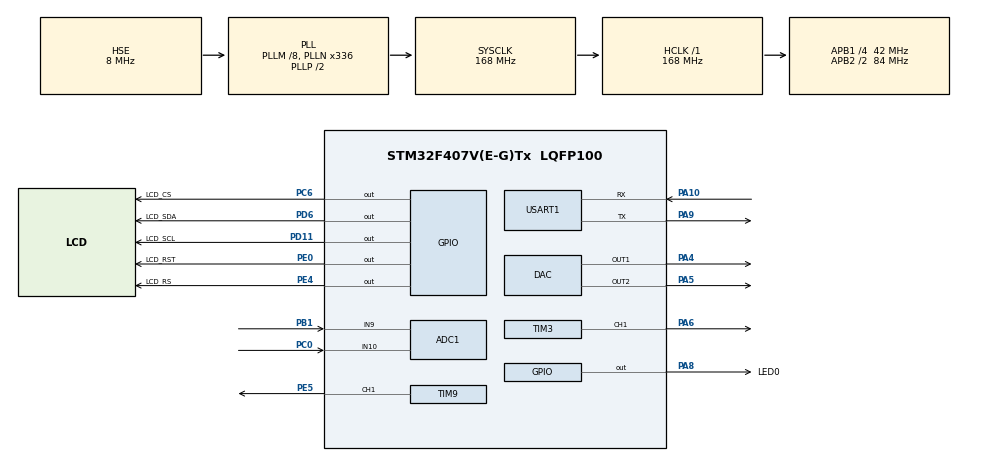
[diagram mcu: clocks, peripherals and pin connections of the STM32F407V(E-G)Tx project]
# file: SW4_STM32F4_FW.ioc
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ADC1.Channel-0\#ChannelRegularConversion=ADC_CHANNEL_9
ADC1.Channel-1\#ChannelRegularConversion=ADC_CHANNEL_10
ADC1.Channel-2\#ChannelRegularConversion=ADC_CHANNEL_TEMPSENSOR
ADC1.ContinuousConvMode=ENABLE
ADC1.DMAContinuousRequests=ENABLE
ADC1.NbrOfConversion=3
ADC1.NbrOfConversionFlag=1
ADC1.Rank-0\#ChannelRegularConversion=1
ADC1.Rank-1\#ChannelRegularConversion=2
ADC1.Rank-2\#ChannelRegularConversion=3
ADC1.SamplingTime-0\#ChannelRegularConversion=ADC_SAMPLETIME_3CYCLES
ADC1.SamplingTime-1\#ChannelRegularConversion=ADC_SAMPLETIME_3CYCLES
ADC1.SamplingTime-2\#ChannelRegularConversion=ADC_SAMPLETIME_3CYCLES
ADC1.ScanConvMode=ENABLE
ADC1.master=1
DAC.DAC_Trigger=DAC_TRIGGER_T6_TRGO
DAC.DAC_Trigger2=DAC_TRIGGER_T6_TRGO
DAC.TriangleAmplitude=DAC_TRIANGLEAMPLITUDE_255
DAC.WaveGeneration=TriangleWaveGeneration
Dma.ADC1.0.Direction=DMA_PERIPH_TO_MEMORY
Dma.ADC1.0.FIFOMode=DMA_FIFOMODE_DISABLE
Dma.ADC1.0.Instance=DMA2_Stream0
Dma.ADC1.0.MemDataAlignment=DMA_MDATAALIGN_HALFWORD
Dma.ADC1.0.MemInc=DMA_MINC_ENABLE
Dma.ADC1.0.Mode=DMA_NORMAL
Dma.ADC1.0.PeriphDataAlignment=DMA_PDATAALIGN_HALFWORD
Dma.ADC1.0.PeriphInc=DMA_PINC_DISABLE
Dma.ADC1.0.Priority=DMA_PRIORITY_LOW
Dma.DAC1.1.Direction=DMA_MEMORY_TO_PERIPH
Dma.DAC1.1.FIFOMode=DMA_FIFOMODE_DISABLE
Dma.DAC1.1.Instance=DMA1_Stream5
Dma.DAC1.1.MemDataAlignment=DMA_MDATAALIGN_HALFWORD
Dma.DAC1.1.MemInc=DMA_MINC_ENABLE
Dma.DAC1.1.Mode=DMA_NORMAL
Dma.DAC1.1.PeriphDataAlignment=DMA_PDATAALIGN_HALFWORD
Dma.DAC1.1.PeriphInc=DMA_PINC_DISABLE
Dma.DAC1.1.Priority=DMA_PRIORITY_LOW
Dma.DAC2.2.Direction=DMA_MEMORY_TO_PERIPH
Dma.DAC2.2.FIFOMode=DMA_FIFOMODE_DISABLE
Dma.DAC2.2.Instance=DMA1_Stream6
Dma.DAC2.2.MemDataAlignment=DMA_MDATAALIGN_HALFWORD
Dma.DAC2.2.MemInc=DMA_MINC_ENABLE
Dma.DAC2.2.Mode=DMA_CIRCULAR
Dma.DAC2.2.PeriphDataAlignment=DMA_PDATAALIGN_HALFWORD
Dma.DAC2.2.PeriphInc=DMA_PINC_DISABLE
Dma.DAC2.2.Priority=DMA_PRIORITY_LOW
Dma.Request0=ADC1
Dma.Request1=DAC1
Dma.Request2=DAC2
Mcu.Family=STM32F4
Mcu.Name=STM32F407V(E-G)Tx
Mcu.Package=LQFP100
NVIC.ADC_IRQn=true\:2\:0\:true\:false\:true\:true\:true
NVIC.DMA1_Stream5_IRQn=true\:0\:0\:false\:false\:true\:false\:true
NVIC.DMA1_Stream6_IRQn=true\:0\:0\:false\:false\:true\:false\:true
NVIC.DMA2_Stream0_IRQn=true\:1\:0\:true\:false\:true\:false\:true
NVIC.PriorityGroup=NVIC_PRIORITYGROUP_4
NVIC.TIM3_IRQn=true\:2\:0\:true\:false\:true\:true\:true
NVIC.USART1_IRQn=true\:1\:0\:true\:false\:true\:true\:true
PA10.Mode=Asynchronous
PA10.Signal=USART1_RX
PA13.Mode=Serial_Wire
PA13.Signal=SYS_JTMS-SWDIO
PA14.Mode=Serial_Wire
PA14.Signal=SYS_JTCK-SWCLK
PA4.Signal=COMP_DAC1_group
PA5.Signal=COMP_DAC2_group
PA6.Signal=S_TIM3_CH1
PA8.GPIO_Label=LED0
PA8.GPIO_PuPd=GPIO_PULLDOWN
PA8.PinState=GPIO_PIN_SET
PA8.Signal=GPIO_Output
PA9.Mode=Asynchronous
PA9.Signal=USART1_TX
PB1.Signal=ADCx_IN9
PC0.Signal=ADCx_IN10
PC14-OSC32_IN.Mode=LSE-External-Oscillator
PC14-OSC32_IN.Signal=RCC_OSC32_IN
PC15-OSC32_OUT.Mode=LSE-External-Oscillator
PC15-OSC32_OUT.Signal=RCC_OSC32_OUT
PC6.GPIO_Label=LCD_CS
PC6.GPIO_PuPd=GPIO_PULLUP
PC6.GPIO_Speed=GPIO_SPEED_FREQ_VERY_HIGH
PC6.PinState=GPIO_PIN_SET
PC6.Signal=GPIO_Output
PD11.GPIO_Label=LCD_SCL
PD11.GPIO_PuPd=GPIO_PULLUP
PD11.GPIO_Speed=GPIO_SPEED_FREQ_VERY_HIGH
PD11.PinState=GPIO_PIN_SET
PD11.Signal=GPIO_Output
PD6.GPIO_Label=LCD_SDA
PD6.GPIO_PuPd=GPIO_PULLUP
PD6.GPIO_Speed=GPIO_SPEED_FREQ_VERY_HIGH
PD6.PinState=GPIO_PIN_SET
PD6.Signal=GPIO_Output
PE0.GPIO_Label=LCD_RST
PE0.GPIO_PuPd=GPIO_PULLUP
PE0.GPIO_Speed=GPIO_SPEED_FREQ_VERY_HIGH
PE0.PinState=GPIO_PIN_SET
PE0.Signal=GPIO_Output
PE4.GPIO_Label=LCD_RS
PE4.GPIO_PuPd=GPIO_PULLUP
PE4.GPIO_Speed=GPIO_SPEED_FREQ_VERY_HIGH
PE4.PinState=GPIO_PIN_SET
PE4.Signal=GPIO_Output
PE5.Signal=S_TIM9_CH1
PH0-OSC_IN.Mode=HSE-External-Oscillator
PH0-OSC_IN.Signal=RCC_OSC_IN
PH1-OSC_OUT.Mode=HSE-External-Oscillator
PH1-OSC_OUT.Signal=RCC_OSC_OUT
ProjectManager.HeapSize=0x200
ProjectManager.StackSize=0x400
ProjectManager.TargetToolchain=SW4STM32
RCC.48MHZClocksFreq_Value=84000000
RCC.AHBFreq_Value=168000000
RCC.APB1CLKDivider=RCC_HCLK_DIV4
RCC.APB1Freq_Value=42000000
RCC.APB1TimFreq_Value=84000000
RCC.APB2CLKDivider=RCC_HCLK_DIV2
RCC.APB2Freq_Value=84000000
RCC.APB2TimFreq_Value=168000000
RCC.CortexFreq_Value=168000000
RCC.HCLKFreq_Value=168000000
RCC.HSE_VALUE=8000000
RCC.HSI_VALUE=16000000
RCC.PLLM=8
RCC.PLLN=336
RCC.PLLSourceVirtual=RCC_PLLSOURCE_HSE
RCC.SYSCLKFreq_VALUE=168000000
RCC.SYSCLKSource=RCC_SYSCLKSOURCE_PLLCLK
RCC.VCOOutputFreq_Value=336000000
SH.ADCx_IN10.0=ADC1_IN10,IN10
SH.ADCx_IN9.0=ADC1_IN9,IN9
SH.COMP_DAC1_group.0=DAC_OUT1,DAC_OUT1
SH.COMP_DAC2_group.0=DAC_OUT2,DAC_OUT2
SH.S_TIM3_CH1.0=TIM3_CH1,PWM Generation1 CH1
SH.S_TIM9_CH1.0=TIM9_CH1,PWM Generation1 CH1
TIM3.AutoReloadPreload=TIM_AUTORELOAD_PRELOAD_DISABLE
TIM3.Channel-PWM\ Generation1\ CH1=TIM_CHANNEL_1
TIM3.Period=999
TIM3.Prescaler=83
TIM3.Pulse-PWM\ Generation1\ CH1=0
TIM6.AutoReloadPreload=TIM_AUTORELOAD_PRELOAD_ENABLE
TIM6.Period=20
TIM6.TIM_MasterOutputTrigger=TIM_TRGO_UPDATE
TIM9.Channel-PWM\ Generation1\ CH1=TIM_CHANNEL_1
TIM9.Period=99
TIM9.Prescaler=167
TIM9.Pulse-PWM\ Generation1\ CH1=99
USART1.VirtualMode=VM_ASYNC
VP_ADC1_TempSens_Input.Mode=IN-TempSens
VP_TIM3_VS_ClockSourceINT.Mode=Internal
VP_TIM6_VS_ClockSourceINT.Mode=Enable_Timer
VP_TIM9_VS_ClockSourceINT.Mode=Internal
board=custom

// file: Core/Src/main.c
/* USER CODE BEGIN Header */

/* USER CODE END Header */
#include "main.h"
#include "adc.h"
#include "dac.h"
#include "dma.h"
#include "tim.h"
#include "usart.h"
#include "gpio.h"

/* USER CODE BEGIN Includes */
#include "first_init.h"
/* USER CODE END Includes */

/* USER CODE BEGIN PV */
volatile uint16_t pulse = 0;
__IO uint16_t LCD_BLK = 0;
/* USER CODE END PV */

void SystemClock_Config(void);

int main(void)
{

    /* MCU Configuration--------------------------------------------------------*/

    /* Reset of all peripherals, Initializes the Flash interface and the Systick. */
    HAL_Init();

    /* Configure the system clock */
    SystemClock_Config();

    /* Initialize all configured peripherals */
    MX_GPIO_Init();
    MX_DMA_Init();
    MX_ADC1_Init();
    MX_DAC_Init();
    MX_TIM6_Init();
    MX_TIM3_Init();
    MX_USART1_UART_Init();
    MX_TIM9_Init();
    /* USER CODE BEGIN 2 */
    first_init();//独立出来了
    /* USER CODE END 2 */

    /* Infinite loop */
    while (1)
    {

        /* USER CODE BEGIN 3 */
        delay_ms(2);
        HAL_ADC_Stop_DMA(&hadc1);
        //采样&&发生
        ADC_FUNCTION();
        TEMP_DATA();
        //温度显示
        LCD_ShowNum(70, 20, MCU_TEMP, 3);//芯片温度
        LCD_ShowNum(70, 36, NTC_TEMP, 3);//NTC温度
        //绘制波形&&局部清屏
        LCD_DrawWave(ADC_IN10_Value, FFT_Len, 1, 159, 55, YELLOW);

        //串口通信
        if (Uart1_Rx_Flag == 1)
        {
            Uart1_Rx_Flag = 0;
            if (uart1_rx_buf[0] >= 0 && uart1_rx_buf[0] <= 10)//是数组，第0位  十进制的数(0-255):0一个字节/10两个字节
            {
                LCD_BLK = uart1_rx_buf[0] * 10;
                __HAL_TIM_SET_COMPARE(&htim9, TIM_CHANNEL_1, LCD_BLK);
                printf("LCD_BLK_SET!\r\n");//调用scanf函数读取串口数据时，需要以空格作为输入的结束
            } else
                printf("LCD_BLK_SET_ERROR!\r\n");
            HAL_UART_Receive_IT(&huart1, (uint8_t *) uart1_rx_buf, 1);//开启串口接收中断允许 不开启就只能接收一次
        }

        //快速傅里叶变换
        FFT_Function(ADC_IN10_voltage);
        LCD_DrawFFTWave(FFT_MAG_Outputdata, 1, 159, 100, Half_FFT_Len, BLUE);

        //DMA校正
        HAL_ADC_Start_DMA(&hadc1, (uint32_t *) &ADC_Value, 768);
    }
    /* USER CODE END 3 */
}

void SystemClock_Config(void)
{
    RCC_OscInitTypeDef RCC_OscInitStruct = {0};
    RCC_ClkInitTypeDef RCC_ClkInitStruct = {0};

    __HAL_RCC_PWR_CLK_ENABLE();
    __HAL_PWR_VOLTAGESCALING_CONFIG(PWR_REGULATOR_VOLTAGE_SCALE1);

    RCC_OscInitStruct.OscillatorType = RCC_OSCILLATORTYPE_HSE;
    RCC_OscInitStruct.HSEState = RCC_HSE_ON;
    RCC_OscInitStruct.PLL.PLLState = RCC_PLL_ON;
    RCC_OscInitStruct.PLL.PLLSource = RCC_PLLSOURCE_HSE;
    RCC_OscInitStruct.PLL.PLLM = 8;
    RCC_OscInitStruct.PLL.PLLN = 336;
    RCC_OscInitStruct.PLL.PLLP = RCC_PLLP_DIV2;
    RCC_OscInitStruct.PLL.PLLQ = 4;
    if (HAL_RCC_OscConfig(&RCC_OscInitStruct) != HAL_OK)
    {
        Error_Handler();
    }

    RCC_ClkInitStruct.ClockType = RCC_CLOCKTYPE_HCLK | RCC_CLOCKTYPE_SYSCLK
                                  | RCC_CLOCKTYPE_PCLK1 | RCC_CLOCKTYPE_PCLK2;
    RCC_ClkInitStruct.SYSCLKSource = RCC_SYSCLKSOURCE_PLLCLK;
    RCC_ClkInitStruct.AHBCLKDivider = RCC_SYSCLK_DIV1;
    RCC_ClkInitStruct.APB1CLKDivider = RCC_HCLK_DIV4;
    RCC_ClkInitStruct.APB2CLKDivider = RCC_HCLK_DIV2;

    if (HAL_RCC_ClockConfig(&RCC_ClkInitStruct, FLASH_LATENCY_5) != HAL_OK)
    {
        Error_Handler();
    }
}

/* USER CODE BEGIN 4 */
void HAL_TIM_PeriodElapsedCallback(TIM_HandleTypeDef *htim)
{
    if (htim->Instance == TIM3)
    {
        if (pulse < 1000)
        {
            pulse++;
        } else
        {
            pulse = 0;
        }

        __HAL_TIM_SET_COMPARE(&htim3, TIM_CHANNEL_1, pulse);

    }

}

/* USER CODE END 4 */

void Error_Handler(void)
{
    __disable_irq();
    while (1)
    {
    }
}
